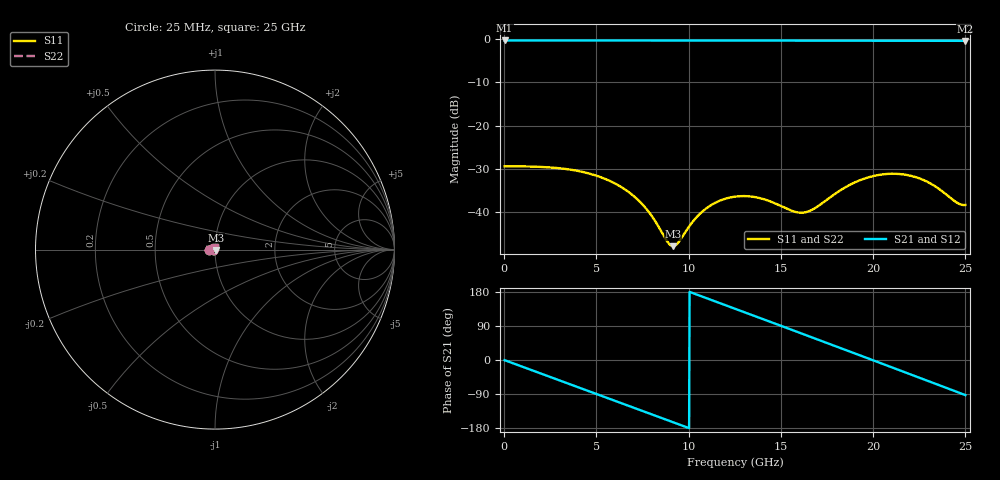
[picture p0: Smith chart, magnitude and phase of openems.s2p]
! thru_R_s4_L1: 2×thru, L1, 8 mm
! stackup: 4-layer 1.6 mm FR-4
! ports: 1, 2
! openEMS 0.37.0, staircase, fine mesh (dfine 0.035 mm), 229500 cells
# Hz S RI R 50
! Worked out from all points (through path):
!   1000 points, 25 MHz to 25 GHz, reference 50 ohm
!   highest |S21| = -0.30 dB at 25 MHz (marker M1); lowest = -0.4 dB at 25 GHz (marker M2)
!   group delay of S21, straight-line fit = 50.3 ps
!   lowest |S11| = -47.8 dB at 9.15 GHz (marker M3), VSWR 1.01, Z = 50.4 - j0.191 ohm
!   |S11| at or under -10 dB: start of sweep to end of sweep
!   |S22| runs from -47.8 to -29.4 dB; largest |S21 - S12| = 0
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2.5e7  -0.0339 0.000134  0.9657 -0.00755  0.9657 -0.00755  -0.0339 0.000134
1.95e9  -0.0316 0.0109  0.792 -0.5526  0.792 -0.5526  -0.0316 0.0109
3.125e9  -0.027 0.0172  0.5408 -0.8001  0.5408 -0.8001  -0.027 0.0172
4.2e9  -0.0201 0.0215  0.2466 -0.9336  0.2466 -0.9336  -0.0201 0.0215
5.175e9  -0.0122 0.0226  -0.0452 -0.9644  -0.0452 -0.9644  -0.0122 0.0226
6.175e9  -0.00389 0.0202  -0.3399 -0.9034  -0.3399 -0.9034  -0.00389 0.0202
7.375e9  0.00343 0.0126  -0.6477 -0.7152  -0.6477 -0.7152  0.00343 0.0126
8.35e9  0.00529 0.00446  -0.8326 -0.4869  -0.8326 -0.4869  0.00529 0.00446
9.15e9  0.00358 -0.0019  -0.9271 -0.2647  -0.9271 -0.2647  0.00358 -0.0019
1.0875e10  -0.00689 -0.00823  -0.9302 0.2514  -0.9302 0.2514  -0.00689 -0.00823
1.2525e10  -0.015 -0.00175  -0.6823 0.6797  -0.6823 0.6797  -0.015 -0.00175
1.36e10  -0.0139 0.00559  -0.4171 0.8677  -0.4171 0.8677  -0.0139 0.00559
1.4625e10  -0.0074 0.0105  -0.1191 0.9551  -0.1191 0.9551  -0.0074 0.0105
1.5875e10  0.00392 0.00917  0.2584 0.9265  0.2584 0.9265  0.00392 0.00917
1.6675e10  0.01 0.00354  0.4827 0.8315  0.4827 0.8315  0.01 0.00354
1.7825e10  0.013 -0.00883  0.7473 0.6035  0.7473 0.6035  0.013 -0.00883
1.885e10  0.00808 -0.0197  0.9005 0.3318  0.9005 0.3318  0.00808 -0.0197
1.985e10  -0.00221 -0.0256  0.9583 0.0329  0.9583 0.0329  -0.00221 -0.0256
2.085e10  -0.014 -0.024  0.9195 -0.2693  0.9195 -0.2693  -0.014 -0.024
2.1925e10  -0.0226 -0.0142  0.7744 -0.5631  0.7744 -0.5631  -0.0226 -0.0142
2.3075e10  -0.0217 0.000355  0.5191 -0.8039  0.5191 -0.8039  -0.0217 0.000355
2.5e10  0.00267 0.0118  -0.0442 -0.955  -0.0442 -0.955  0.00267 0.0118
